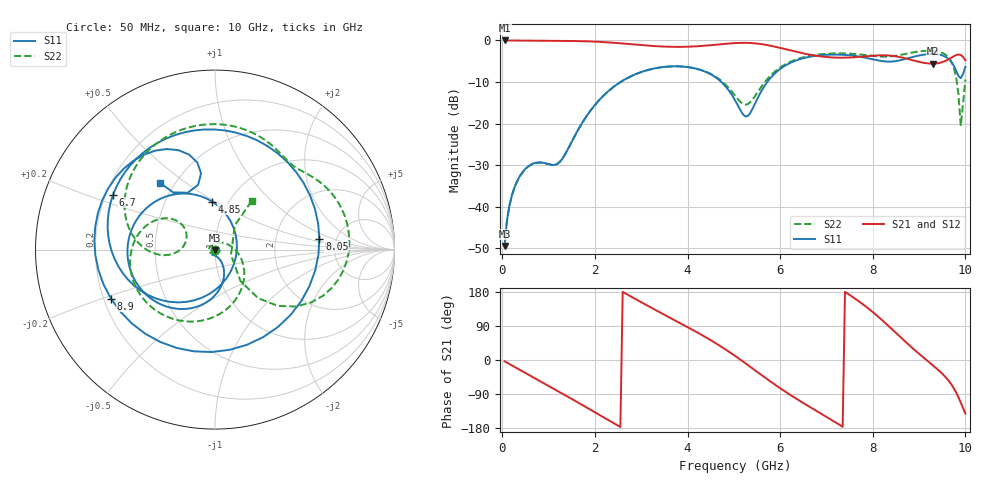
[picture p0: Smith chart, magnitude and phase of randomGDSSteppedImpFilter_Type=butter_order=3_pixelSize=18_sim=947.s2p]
! freq	dB(S11)	phase(S11)	dB(S12)	phase(S12)
!  dB(S21)	phase(S21)	dB(S22)	phase(S22)
!S-par simulation data
#  GHz  S  DB  R 50
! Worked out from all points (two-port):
!   200 points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, 50 MHz to 10 GHz, reference 50 ohm
!   highest |S21| = -0.01 dB at 50 MHz (marker M1); lowest = -5.6 dB at 9.3 GHz (marker M2)
!   |S21| within 3 dB of the highest: start of sweep to 6.452 GHz
!   lowest |S11| = -49.5 dB at 50 MHz (marker M3), VSWR 1.01, Z = 50 - j0.335 ohm
!   |S11| at or under -10 dB: start of sweep to 2.554 GHz; 4.728 GHz to 5.723 GHz (994.4 MHz wide, 19 % of centre)
!   |S22| runs from -49.5 to -2.5 dB; largest |S21 - S12| = 0
!   S11 on the Smith chart (normalised r, x): 50 MHz: 1.00, -0.01; 4.85 GHz: 0.84, +0.48; 6.7 GHz: 0.23, +0.24; 8.05 GHz: 3.68, +0.67; 8.9 GHz: 0.23, -0.21; 10 GHz: 0.42, +0.40
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0.05  -49.45 -84.4  -0.01 -3.5  -0.01 -3.5  -49.51 -86.7
0.15  -39.94 -93.5  -0.02 -10.3  -0.02 -10.3  -40.03 -100.3
0.4  -32.27 -106.8  -0.04 -27.2  -0.04 -27.2  -32.37 -126.4
1.1  -29.97 -103.9  -0.10 -74.9  -0.10 -74.9  -29.95 132.2
1.75  -19.39 -64.3  -0.20 -120.2  -0.20 -120.2  -19.40 2.5
2.5  -10.39 -100.3  -0.64 -173.3  -0.64 -173.3  -10.43 -67.5
3.4  -6.51 -155.0  -1.43 126.0  -1.43 126.0  -6.53 -133.1
4.2  -6.84 152.6  -1.41 73.5  -1.41 73.5  -6.81 176.2
4.85  -11.45 93.3  -0.78 25.5  -0.78 25.5  -10.97 143.7
5.05  -14.88 61.2  -0.62 8.9  -0.62 8.9  -13.61 144.7
5.3  -18.20 -18.8  -0.60 -13.0  -0.60 -13.0  -15.33 169.5
5.85  -8.33 -130.5  -1.41 -61.8  -1.41 -61.8  -7.85 177.6
6.7  -3.81 151.7  -3.55 -128.2  -3.55 -128.2  -3.59 125.6
7.45  -3.53 85.2  -4.14 175.9  -4.14 175.9  -3.15 82.8
8.05  -4.66 5.9  -3.65 121.3  -3.65 121.3  -3.77 55.5
8.35  -5.10 -50.9  -3.63 88.5  -3.63 88.5  -3.88 46.3
8.6  -4.75 -101.6  -4.04 59.9  -4.04 59.9  -3.49 38.4
8.9  -3.87 -154.8  -4.88 26.8  -4.88 26.8  -2.82 25.4
9.3  -3.27 150.3  -5.58 -14.2  -5.58 -14.2  -2.51 1.9
9.75  -6.11 101.5  -3.80 -74.6  -3.80 -74.6  -6.55 -41.9
9.9  -9.09 115.5  -3.50 -112.3  -3.50 -112.3  -20.56 -18.5
10  -6.34 129.5  -4.80 -141.3  -4.80 -141.3  -9.41 53.0
